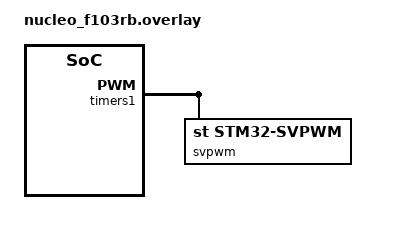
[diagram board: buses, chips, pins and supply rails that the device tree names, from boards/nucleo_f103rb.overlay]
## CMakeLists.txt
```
# Copyright 2022 Stefano Cottafavi <stefano.cottafavi@gmail.com>.
# SPDX-License-Identifier: Apache-2.0

list(APPEND ZEPHYR_EXTRA_MODULES
    ${CMAKE_CURRENT_SOURCE_DIR}/../../../drivers/svpwm
	${CMAKE_CURRENT_SOURCE_DIR}/../../../lib/svm
	${CMAKE_CURRENT_SOURCE_DIR}/../../../lib/utils
)

cmake_minimum_required(VERSION 3.20.0)
find_package(Zephyr REQUIRED HINTS $ENV{ZEPHYR_BASE})

project(svpwm LANGUAGES C VERSION 1.0.0)

target_sources(app PRIVATE 
    src/main.c
    #src/svm_shell.c
)
```

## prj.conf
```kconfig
# Copyright (c) 2021 Teslabs Engineering S.L.
# SPDX-License-Identifier: Apache-2.0
CONFIG_NEWLIB_LIBC=y

## Main config
CONFIG_GPIO=y

# NOTE: shell won't fit in f302r8 FLASH (64k), needs possibly an RB (128k) 
#CONFIG_SHELL=y
# drivers
CONFIG_SPINNER_SVPWM=y
# lib
CONFIG_SPINNER_SVM=y



## Debug
# https://go.memfault.com/hubfs/zephyr%20dev%20summit%20pres_debugging_irnas_memfault.pdf

# compiler
#CONFIG_DEBUG_OPTIMIZATIONS=y
# console
#CONFIG_CONSOLE=y
# UART console
CONFIG_SERIAL=y
#CONFIG_UART_CONSOLE=y
# logging
CONFIG_LOG=y
CONFIG_PRINTK=y
```

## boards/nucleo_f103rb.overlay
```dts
/*
 * Copyright (c) 2022, Stefano Cottafavi <stefano.cottafavi@gmail.com>
 *
 * SPDX-License-Identifier: Apache-2.0
 */

/ {
    chosen {
    };
};

&timers1 {
    status = "okay";
    svpwm: svpwm {
        compatible = "st,stm32-svpwm";
        status = "okay";
        pinctrl-0 = <&tim1_ch1_pwm_pa8 &tim1_ch2_pwm_pa9 &tim1_ch3_pwm_pa10 &tim1_ch4_pwm_pa11>;
        pinctrl-names = "default";

        /* L6230 dead time (Table 6) */
        t-dead-ns = <1000>;
        /* L6230 rise time: tD(ON) + tRISE (Fig. 4) */
        t-rise-ns = <1050>;
        //currsmp = <&currsmp>;
        /*enable-gpios = <&gpioc 10 GPIO_ACTIVE_HIGH>,
                    <&gpioc 11 GPIO_ACTIVE_HIGH>,
                    <&gpioc 12 GPIO_ACTIVE_HIGH>;
    
        */
    };
};

/*&pwm1 {
    status = "disabled";
};*/

&adc1 {
    status = "disabled";
};

/* FIXME: missing upstream */
/*&pinctrl {
};*/
 
```

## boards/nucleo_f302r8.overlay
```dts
/*
 * Copyright (c) 2022, Stefano Cottafavi <stefano.cottafavi@gmail.com>
 *
 * SPDX-License-Identifier: Apache-2.0
 */

/ {
    chosen {
    };
    aliases {
    };
};

&timers1 {
    status = "okay";
    svpwm: svpwm {
        compatible = "st,stm32-svpwm";
        status = "okay";
        pinctrl-0 = <&tim1_ch1_pa8 &tim1_ch2_pa9 &tim1_ch3_pa10 &tim1_ocp_pa11>;
        pinctrl-names = "default";

        /* L6230 dead time (Table 6) */
        t-dead-ns = <1000>;
        /* L6230 rise time: tD(ON) + tRISE (Fig. 4) */
        t-rise-ns = <1050>;
        //currsmp = <&currsmp>;
        enable-gpios = <&gpioc 10 GPIO_ACTIVE_HIGH>,
                    <&gpioc 11 GPIO_ACTIVE_HIGH>,
                    <&gpioc 12 GPIO_ACTIVE_HIGH>;
        enable-comp-outputs;
    };
};

/* FIXME: missing upstream */
&pinctrl {
    tim1_ocp_pa11: tim1_ocp_pa11 {
        pinmux = <STM32_PINMUX('A', 11, AF12)>;
    };
};
 
```

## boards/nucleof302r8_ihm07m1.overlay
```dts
/*
 * Copyright (c) 2022, Stefano Cottafavi <stefano.cottafavi@gmail.com>
 *
 * SPDX-License-Identifier: Apache-2.0
 */

&adc1 {
    status = "disabled";
};
 
&timers2 {
    status = "disabled";
};
```

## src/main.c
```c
/**
 * Copyright 2022 Stefano Cottafavi <stefano.cottafavi@gmail.com>.
 * SPDX-License-Identifier: Apache-2.0
 */

#include <zephyr/kernel.h>
#include <zephyr/device.h>
#include <zephyr/drivers/gpio.h>

#include "svm.h"
#include "svpwm.h"

#define SLEEP_TIME_MS   10
#define LED0_NODE DT_ALIAS(led0)
#define SW00_NODE DT_ALIAS(sw0)

static const struct gpio_dt_spec led = GPIO_DT_SPEC_GET(LED0_NODE, gpios);
static const struct gpio_dt_spec btn = GPIO_DT_SPEC_GET(SW00_NODE, gpios);

const struct device *svpwm;
svm_t svm;

static uint8_t lut[1000] = {
	50,53,56,59,62,65,68,71,74,77,
	79,82,84,86,89,90,92,94,95,96,
	98,98,99,100,100,100,100,100,99,98,
	98,96,95,94,92,90,89,86,84,82,
	79,77,74,71,68,65,62,59,56,53,
	50,47,44,41,38,35,32,29,26,23,
	21,18,16,14,11,10,8,6,5,4,
	2,2,1,0,0,0,0,0,1,2,
	2,4,5,6,8,10,11,14,16,18,
	21,23,26,29,32,35,38,41,44,47,
};

void main(void) {

	svpwm = DEVICE_DT_GET(DT_NODELABEL(svpwm));

	int ret;
	uint8_t ilut= 0;

	if (!device_is_ready(led.port)) {
		return;
	}

	ret = gpio_pin_configure_dt(&led, GPIO_OUTPUT_ACTIVE);
	if (ret < 0) {
		return;
	}

	
	svpwm_start(svpwm);

	while(1) {

		if(ilut==100)
			ilut=0;
		else
			ilut++;

		svpwm_set_phase_voltages(svpwm, 0.f, lut[ilut]/100.0f);

		ret = gpio_pin_toggle_dt(&led);
		if (ret < 0) {
			return;
		}

		k_msleep(SLEEP_TIME_MS);
	}
}
```

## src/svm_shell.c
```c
/**
 * Copyright 2022 Stefano Cottafavi <stefano.cottafavi@gmail.com>.
 * SPDX-License-Identifier: Apache-2.0
 */

#include <stdlib.h>

#include <zephyr/shell/shell.h>

#include "svpwm.h"

extern const struct device *svpwm;

static int cmd_svpwm_start(const struct shell *shell, size_t argc, char **argv)
{
	ARG_UNUSED(shell);
	ARG_UNUSED(argc);
	ARG_UNUSED(argv);

	svpwm_start(svpwm);

	return 0;
}

static int cmd_svpwm_stop(const struct shell *shell, size_t argc, char **argv)
{
	ARG_UNUSED(shell);
	ARG_UNUSED(argc);
	ARG_UNUSED(argv);

	svpwm_stop(svpwm);

	return 0;
}

static int cmd_svpwm_set(const struct shell *shell, size_t argc, char **argv)
{
	if (argc != 2) {
		shell_help(shell);
		return -EINVAL;
	}

	/* NOTE: i_d = 0, assuming PMSM */
	//cloop_set_ref(0.0f, strtof(argv[1], NULL));
	
	float v_alpha = 0.2;
	float v_beta = 0.5;
	svpwm_set_phase_voltages(svpwm, v_alpha, v_beta);

	return 0;
}

SHELL_STATIC_SUBCMD_SET_CREATE(
	sub_svpwm,
	SHELL_CMD(start, NULL, "Start SV-PWM", cmd_svpwm_start),
	SHELL_CMD(stop, NULL, "Stop SV-PWM", cmd_svpwm_stop),
	SHELL_CMD(set, NULL, "Set SV-PWM value", cmd_svpwm_set),
	SHELL_SUBCMD_SET_END);

SHELL_CMD_REGISTER(svpwm, &sub_svpwm, "SV-PWM Control", NULL);
```
